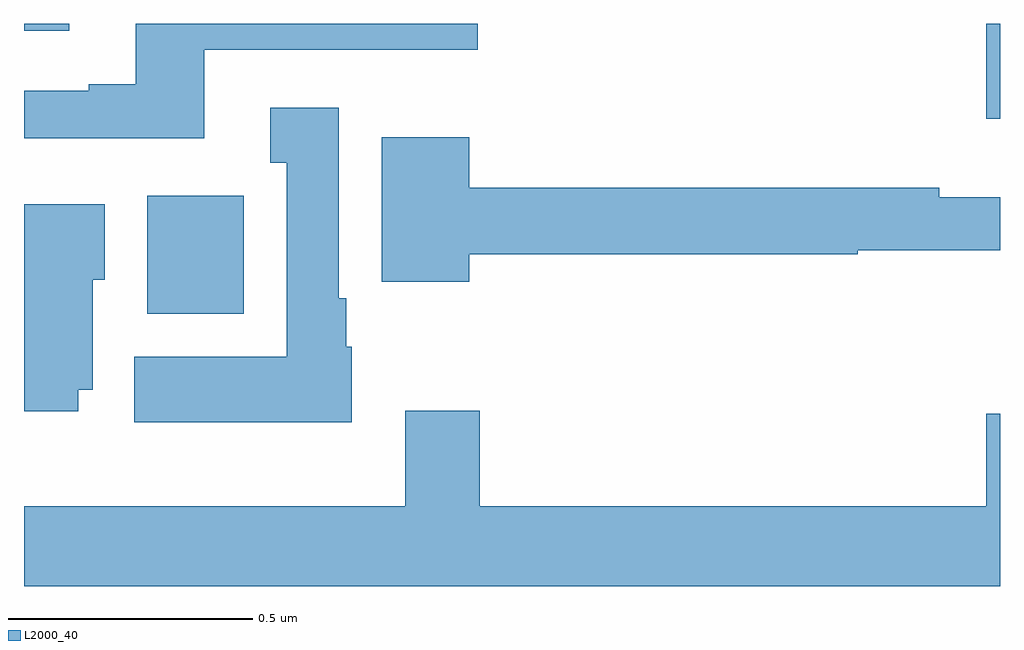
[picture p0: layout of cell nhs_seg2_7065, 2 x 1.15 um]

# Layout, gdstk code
import gdstk
lib = gdstk.Library(unit=1e-6, precision=1e-09)
def R(c, l, rs):  # rectangles x0, y0, x1, y1
    for r in rs: c.add(gdstk.rectangle(r[:2], r[2:], *l))
def P(c, l, *ps):  # polygons
    for p in ps: c.add(gdstk.Polygon(p, *l))
L2000_40 = (2000, 40)

nhs_seg2_7065 = lib.new_cell('nhs_seg2_7065')
R(nhs_seg2_7065, L2000_40, [(199.253,636.206,199.45,636.448), (200.972,636.606,201,636.8), (199,636.786,199.093,636.8)])
P(nhs_seg2_7065, L2000_40, [(199.369,636.747),(199.93,636.747),(199.93,636.8),(199.229,636.8),(199.229,636.676),(199.133,636.676),(199.133,636.663),(199,636.663),(199,636.566),(199.369,636.566)],
  [(199.672,636.138),(199.66,636.138),(199.66,636.238),(199.645,636.238),(199.645,636.628),(199.505,636.628),(199.505,636.515),(199.538,636.515),(199.538,636.118),(199.226,636.118),(199.226,635.984),(199.672,635.984)],
  [(199.912,636.328),(200.708,636.328),(200.708,636.336),(201,636.336),(201,636.445),(200.876,636.445),(200.876,636.464),(199.912,636.464),(199.912,636.568),(199.733,636.568),(199.733,636.272),(199.912,636.272)],
  [(199.111,636.05),(199.141,636.05),(199.141,636.276),(199.165,636.276),(199.165,636.43),(199.001,636.43),(199.001,636.124),(199,636.124),(199,636.006),(199.111,636.006)],
  [(201,636.001),(200.972,636.001),(200.972,635.812),(199.934,635.812),(199.934,636.007),(199.781,636.007),(199.781,635.812),(199,635.812),(199,635.648),(201,635.648)])

lib.write_gds('nhs_seg2_7065.gds')
